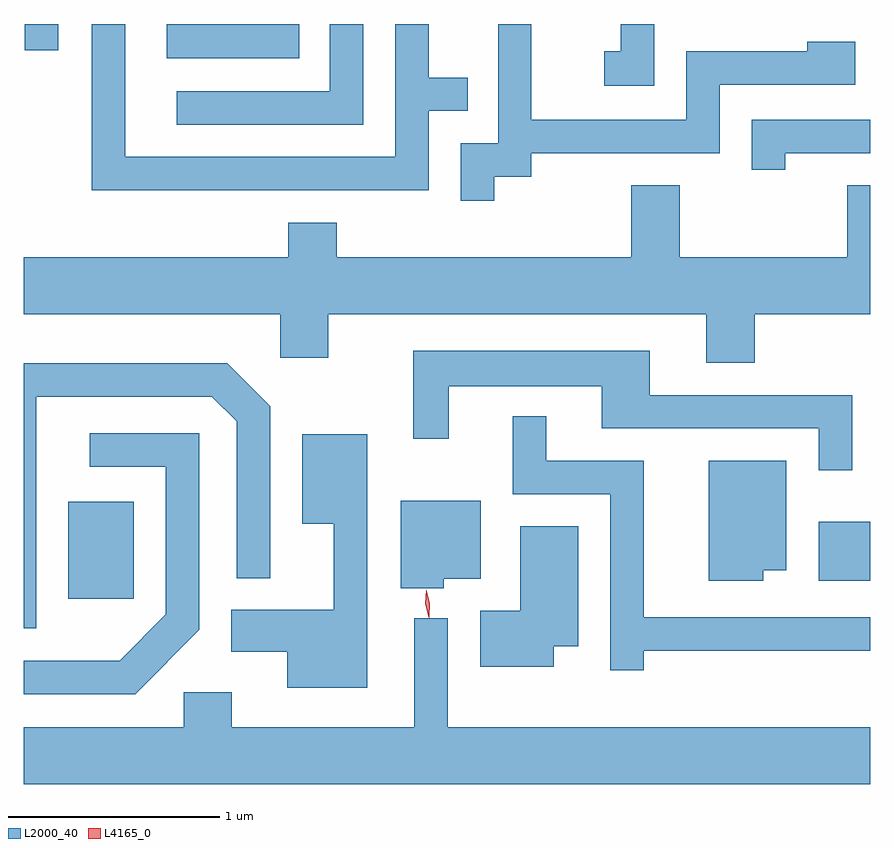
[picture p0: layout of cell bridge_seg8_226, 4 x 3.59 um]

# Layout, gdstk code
import gdstk
lib = gdstk.Library(unit=1e-6, precision=1e-09)
def R(c, l, rs):  # rectangles x0, y0, x1, y1
    for r in rs: c.add(gdstk.rectangle(r[:2], r[2:], *l))
def P(c, l, *ps):  # polygons
    for p in ps: c.add(gdstk.Polygon(p, *l))
L2000_40 = (2000, 40)
L4165_0 = (4165, 0)

bridge_seg8_226 = lib.new_cell('bridge_seg8_226')
R(bridge_seg8_226, L2000_40, [(1037.711,1921.651,1038.019,1922.109), (1041.256,1921.736,1041.5,1922.014), (1038.176,1924.206,1038.803,1924.367), (1037.506,1924.243,1037.664,1924.367)])
P(bridge_seg8_226, L2000_40, [(1039.104,1924.367),(1038.946,1924.367),(1038.946,1924.049),(1038.223,1924.049),(1038.223,1923.891),(1039.104,1923.891)],
  [(1039.414,1923.956),(1039.598,1923.956),(1039.598,1924.114),(1039.414,1924.114),(1039.414,1924.367),(1039.256,1924.367),(1039.256,1923.739),(1037.979,1923.739),(1037.979,1924.367),(1037.821,1924.367),(1037.821,1923.581),(1039.414,1923.581)],
  [(1040.479,1924.367),(1040.321,1924.367),(1040.321,1924.239),(1040.243,1924.239),(1040.243,1924.076),(1040.479,1924.076)],
  [(1039.724,1923.646),(1039.899,1923.646),(1039.899,1923.756),(1040.789,1923.756),(1040.789,1924.081),(1041.429,1924.081),(1041.429,1924.284),(1041.201,1924.284),(1041.201,1924.239),(1040.631,1924.239),(1040.631,1923.914),(1039.899,1923.914),(1039.899,1924.367),(1039.741,1924.367),(1039.741,1923.804),(1039.566,1923.804),(1039.566,1923.533),(1039.724,1923.533)],
  [(1041.099,1923.756),(1041.5,1923.756),(1041.5,1923.914),(1040.941,1923.914),(1040.941,1923.678),(1041.099,1923.678)],
  [(1040.954,1922.996),(1041.5,1922.996),(1041.5,1923.604),(1041.391,1923.604),(1041.391,1923.264),(1040.599,1923.264),(1040.599,1923.604),(1040.371,1923.604),(1040.371,1923.264),(1038.979,1923.264),(1038.979,1923.429),(1038.751,1923.429),(1038.751,1923.264),(1037.5,1923.264),(1037.5,1922.996),(1038.711,1922.996),(1038.711,1922.791),(1038.939,1922.791),(1038.939,1922.996),(1040.726,1922.996),(1040.726,1922.766),(1040.954,1922.766)],
  [(1041.414,1922.614),(1040.459,1922.614),(1040.459,1922.824),(1039.341,1922.824),(1039.341,1922.408),(1039.509,1922.408),(1039.509,1922.656),(1040.231,1922.656),(1040.231,1922.456),(1041.256,1922.456),(1041.256,1922.258),(1041.414,1922.258)],
  [(1037.559,1922.606),(1038.389,1922.606),(1038.506,1922.489),(1038.506,1921.748),(1038.664,1921.748),(1038.664,1922.562),(1038.462,1922.764),(1037.5,1922.764),(1037.5,1921.511),(1037.559,1921.511)],
  [(1040.429,1921.406),(1041.5,1921.406),(1041.5,1921.564),(1040.429,1921.564),(1040.429,1922.304),(1039.969,1922.304),(1039.969,1922.513),(1039.811,1922.513),(1039.811,1922.146),(1040.271,1922.146),(1040.271,1921.313),(1040.429,1921.313)],
  [(1038.329,1921.504),(1038.329,1922.434),(1037.813,1922.434),(1037.813,1922.276),(1038.171,1922.276),(1038.171,1921.577),(1037.954,1921.359),(1037.5,1921.359),(1037.5,1921.201),(1038.027,1921.201)],
  [(1039.124,1922.429),(1038.816,1922.429),(1038.816,1922.006),(1038.966,1922.006),(1038.966,1921.599),(1038.481,1921.599),(1038.481,1921.401),(1038.746,1921.401),(1038.746,1921.231),(1039.124,1921.231)],
  [(1040.994,1921.786),(1041.104,1921.786),(1041.104,1922.304),(1040.736,1922.304),(1040.736,1921.736),(1040.994,1921.736)],
  [(1039.484,1921.746),(1039.659,1921.746),(1039.659,1922.114),(1039.281,1922.114),(1039.281,1921.701),(1039.484,1921.701)],
  [(1040.004,1921.426),(1040.119,1921.426),(1040.119,1921.994),(1039.846,1921.994),(1039.846,1921.594),(1039.656,1921.594),(1039.656,1921.331),(1040.004,1921.331)],
  [(1041.5,1921.044),(1039.504,1921.044),(1039.504,1921.558),(1039.346,1921.558),(1039.346,1921.044),(1038.484,1921.044),(1038.484,1921.209),(1038.256,1921.209),(1038.256,1921.044),(1037.5,1921.044),(1037.5,1920.776),(1041.5,1920.776)])
P(bridge_seg8_226, L4165_0, [(1039.415,1921.562),(1039.414,1921.563),(1039.398,1921.628),(1039.401,1921.695),(1039.402,1921.695),(1039.402,1921.695),(1039.418,1921.63),(1039.415,1921.563)])

lib.write_gds('bridge_seg8_226.gds')
